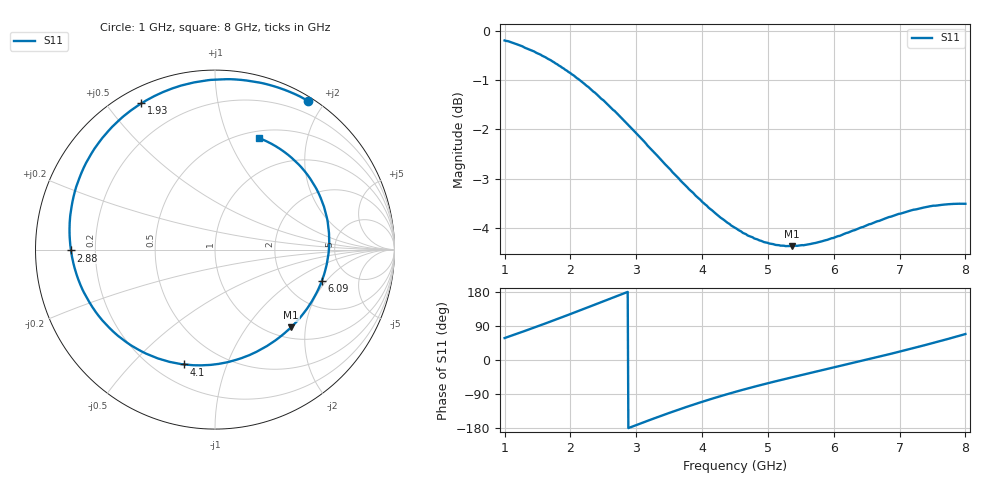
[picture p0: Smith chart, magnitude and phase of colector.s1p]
# GHz S MA R 50
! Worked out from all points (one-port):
!   701 points, 1 GHz to 8 GHz, reference 50 ohm
!   lowest |S11| = -4.4 dB at 5.37 GHz (marker M1), VSWR 4.07, Z = 61.1 - j83.3 ohm
!   |S11| at or under -10 dB: nowhere
!   S11 on the Smith chart (normalised r, x): 1 GHz: 0.05, +1.81; 1.93 GHz: 0.06, +0.61; 2.88 GHz: 0.11, -0.00; 4.1 GHz: 0.32, -0.72; 6.09 GHz: 3.18, -1.79; 8 GHz: 0.58, +1.30
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1  0.9772 57.9
1.24  0.9656 72.5
1.45  0.9524 85.7
1.67  0.9355 99.7
1.88  0.9168 113.4
1.93  0.912 116.7
2.15  0.8898 131.3
2.36  0.8665 145.4
2.55  0.8438 158.2
2.75  0.8192 171.7
2.88  0.8025 -179.7
3.07  0.7785 -167.1
3.28  0.7519 -153.5
3.46  0.7301 -142.2
3.63  0.7106 -131.8
3.86  0.6858 -118.3
4.1  0.6621 -104.9
4.5  0.6319 -84.3
4.91  0.6125 -65.2
5.37  0.6054 -45.6
5.38  0.6055 -45.2
5.75  0.6107 -30.0
6.09  0.62 -16.2
6.25  0.6261 -9.6
6.69  0.6421 8.7
7.13  0.6567 27.8
7.53  0.6651 45.9
8  0.6682 68.5
